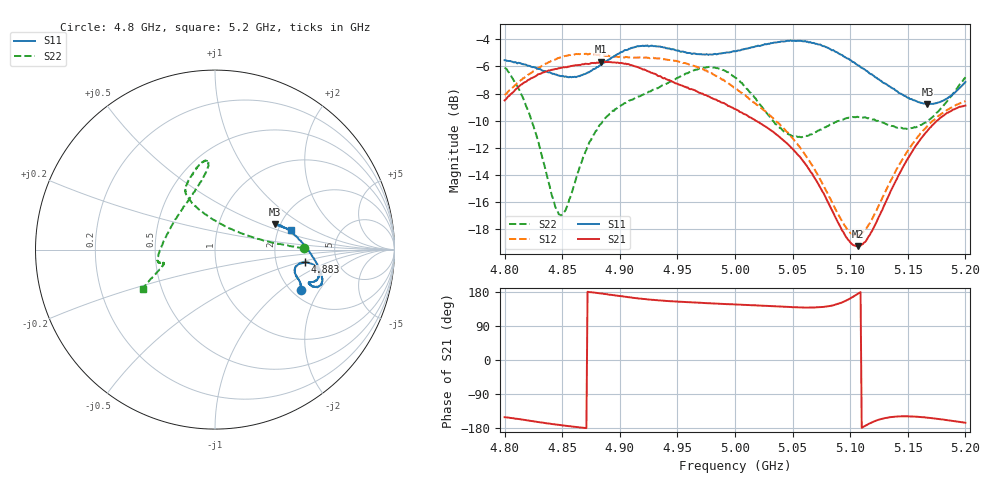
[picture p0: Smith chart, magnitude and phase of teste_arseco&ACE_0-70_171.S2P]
! Network Analyzer HP8722D
! Hewlett-Packard
! Data name: Linha & Wilkinson
! Saver's name: Rodrigo Anjos
! Comments: Teste da utilização de aquisição
! continua pelo VNA HP8722D
! Time and date: 8/5/2025 14:11
!  Frequency  S11  S21  S12  S22
# HZ  S  MA R 50
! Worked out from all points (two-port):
!   401 points, 4.8 GHz to 5.2 GHz, reference 50 ohm
!   highest |S21| = -5.65 dB at 4.884 GHz (marker M1); lowest = -19.3 dB at 5.107 GHz (marker M2)
!   |S21| within 3 dB of the highest: start of sweep to 4.988 GHz
!   lowest |S11| = -8.8 dB at 5.167 GHz (marker M3), VSWR 2.14, Z = 94 + j30.5 ohm
!   |S11| at or under -10 dB: nowhere
!   |S22| runs from -17.0 to -6.0 dB; largest |S21 - S12| = 1.1
!   S11 on the Smith chart (normalised r, x): 4.8 GHz: 2.23, -1.39; 4.883 GHz: 2.94, -0.56; 5.2 GHz: 2.35, +0.65
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4.8e9  0.5286 -25.2  0.3756 -150.9  0.3935 8.2  0.496 0.9
4.82e9  0.5041 -20.6  0.4459 -159.4  0.466 5.4  0.3476 5.6
4.847e9  0.464 -16.3  0.4934 -171.1  0.5387 1.2  0.1427 55.8
4.853e9  0.4604 -14.9  0.4984 -173.6  0.5484 0.1  0.1478 79.4
4.867e9  0.4651 -10.9  0.5107 -178.3  0.5568 -1.9  0.2229 109.1
4.883e9  0.5072 -8.1  0.5181 175.6  0.5504 -3.1  0.3062 117.0
4.884e9  0.5089 -8.2  0.5221 175.3  0.5486 -3.1  0.3084 116.9
4.912e9  0.5893 -11.5  0.5031 164.0  0.5399 -2.3  0.3799 115.6
4.934e9  0.5933 -16.4  0.4614 157.1  0.537 -3.2  0.4193 109.7
4.975e9  0.5561 -19.7  0.3927 150.0  0.4847 -6.7  0.497 96.8
5e9  0.5699 -20.4  0.3489 146.5  0.4174 -6.7  0.4564 95.2
5.018e9  0.5948 -20.5  0.3158 144.3  0.365 -3.9  0.3812 102.9
5.043e9  0.6202 -18.5  0.2653 140.5  0.294 1.4  0.2874 130.5
5.067e9  0.6116 -13.9  0.2014 138.3  0.2164 8.7  0.2819 165.1
5.096e9  0.5411 -3.6  0.1183 156.2  0.1282 36.5  0.3223 -172.0
5.107e9  0.5057 1.7  0.1087 175.6  0.1189 58.1  0.3259 -168.5
5.117e9  0.4714 6.8  0.1195 -167.2  0.1322 76.9  0.3211 -167.2
5.134e9  0.4234 15.0  0.1691 -151.2  0.1852 94.4  0.3042 -166.2
5.151e9  0.3833 21.0  0.2329 -148.7  0.2486 99.6  0.2956 -164.9
5.167e9  0.3638 22.8  0.29 -152.1  0.3023 100.6  0.3141 -161.6
5.183e9  0.3793 20.3  0.3346 -158.3  0.3435 100.6  0.3683 -157.1
5.2e9  0.4393 14.6  0.3592 -165.6  0.3733 101.0  0.4572 -151.6
